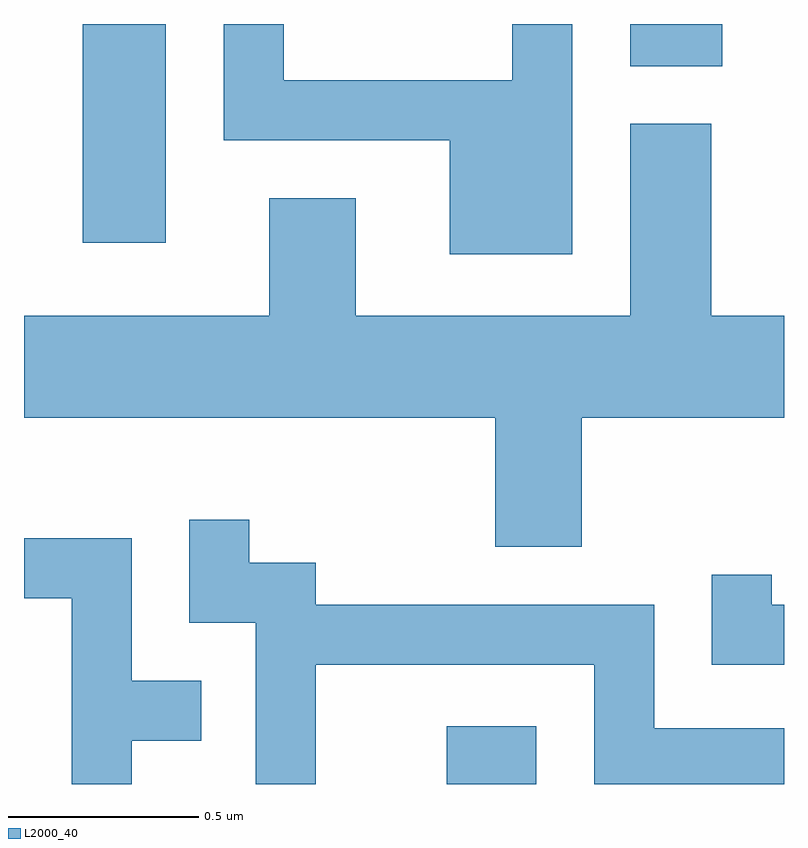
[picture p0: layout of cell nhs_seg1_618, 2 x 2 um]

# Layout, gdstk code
import gdstk
lib = gdstk.Library(unit=1e-6, precision=1e-09)
def R(c, l, rs):  # rectangles x0, y0, x1, y1
    for r in rs: c.add(gdstk.rectangle(r[:2], r[2:], *l))
def P(c, l, *ps):  # polygons
    for p in ps: c.add(gdstk.Polygon(p, *l))
L2000_40 = (2000, 40)

nhs_seg1_618 = lib.new_cell('nhs_seg1_618')
R(nhs_seg1_618, L2000_40, [(190.723,909.712,190.959,909.864), (189.766,911.136,189.984,911.712), (191.206,911.601,191.449,911.712)])
P(nhs_seg1_618, L2000_40, [(191.054,911.712),(190.896,911.712),(190.896,911.564),(190.294,911.564),(190.294,911.712),(190.136,911.712),(190.136,911.406),(190.731,911.406),(190.731,911.106),(191.054,911.106)],
  [(191.079,910.676),(191.611,910.676),(191.611,910.944),(191.419,910.944),(191.419,911.449),(191.206,911.449),(191.206,910.944),(190.484,910.944),(190.484,911.254),(190.256,911.254),(190.256,910.944),(189.611,910.944),(189.611,910.676),(190.851,910.676),(190.851,910.336),(191.079,910.336)],
  [(190.379,910.026),(191.111,910.026),(191.111,909.712),(191.611,909.712),(191.611,909.859),(191.269,909.859),(191.269,910.184),(190.379,910.184),(190.379,910.294),(190.204,910.294),(190.204,910.408),(190.046,910.408),(190.046,910.136),(190.221,910.136),(190.221,909.712),(190.379,909.712)],
  [(189.894,909.826),(190.078,909.826),(190.078,909.984),(189.894,909.984),(189.894,910.359),(189.611,910.359),(189.611,910.201),(189.736,910.201),(189.736,909.712),(189.894,909.712)],
  [(191.611,910.184),(191.579,910.184),(191.579,910.263),(191.421,910.263),(191.421,910.026),(191.611,910.026)])

lib.write_gds('nhs_seg1_618.gds')
